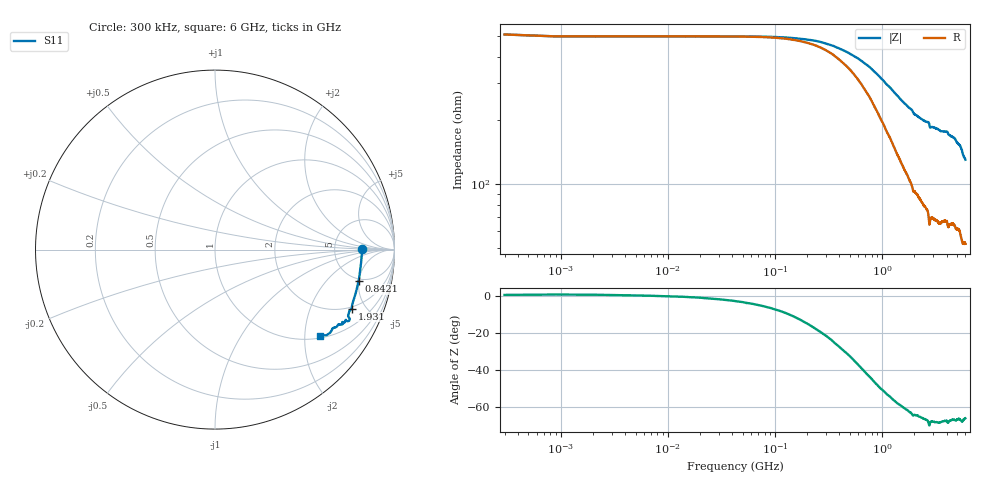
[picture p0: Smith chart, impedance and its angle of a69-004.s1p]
!  3/12/2021  05:43:15
! Ref Plane: 23.990 mm
# MHZ S MA R  50
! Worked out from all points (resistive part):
!   10001 points, 300 kHz to 6 GHz, reference 50 ohm
!   read as one part to ground: R = 499 ohm at 30.3 MHz
!   S11 on the Smith chart (normalised r, x): 300 kHz: 10, +0; 842.1 MHz: 4.69, -4.95; 1.931 GHz: 1.89, -4.00; 6 GHz: 1.04, -2.39
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0.3  0.8213 0.1
386.6807  0.8167 -6.0
750.2625  0.8185 -11.0
842.0579  0.8187 -12.3
1107.845  0.8195 -15.6
1500.225  0.8213 -19.7
1931.004  0.8302 -23.3
2010.8  0.8241 -24.1
2250.188  0.8251 -25.2
2546.573  0.8279 -26.5
2666.567  0.8321 -26.7
2740.363  0.8444 -27.4
2786.561  0.8391 -28.4
2838.758  0.8282 -28.4
3000.15  0.8284 -28.3
3408.13  0.8284 -29.3
3750.113  0.8192 -29.7
4027.299  0.8176 -29.7
4099.295  0.8237 -29.9
4174.291  0.819 -30.7
4500.075  0.8066 -31.1
4773.661  0.8037 -31.7
4979.451  0.7974 -33.0
5250.038  0.789 -33.9
5554.822  0.7913 -36.0
5672.416  0.783 -37.5
5781.611  0.771 -38.2
6000  0.7599 -39.5
